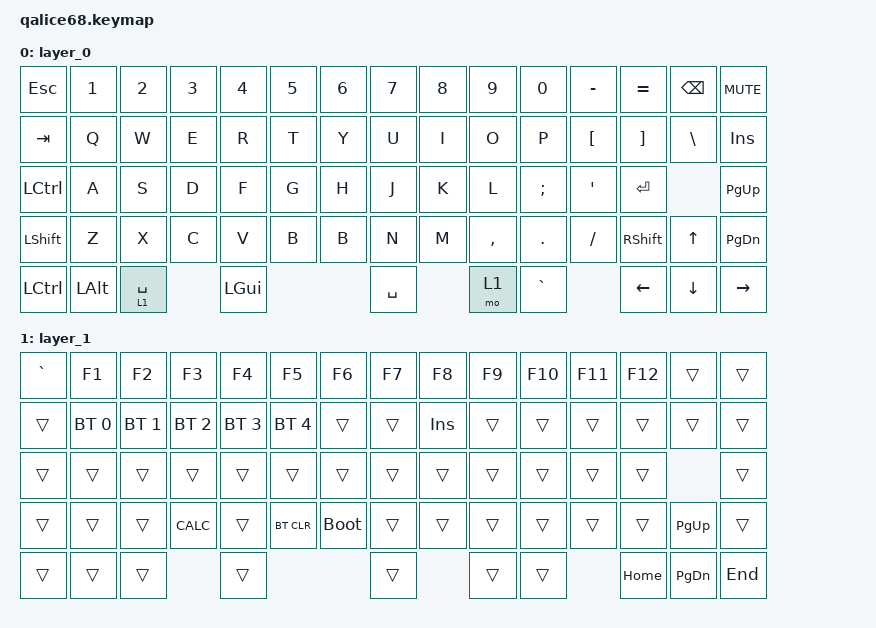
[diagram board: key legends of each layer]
/*
 * Copyright (c) 2020 The ZMK Contributors
 *
 * SPDX-License-Identifier: MIT
 */

#include <behaviors.dtsi>
#include <dt-bindings/zmk/bt.h>
#include <dt-bindings/zmk/keys.h>

/ {
    keymap {
        compatible = "zmk,keymap";

        layer_0 {
            bindings = <
&kp ESC    &kp N1    &kp N2       &kp N3  &kp N4    &kp N5  &kp N6  &kp N7     &kp N8  &kp N9     &kp N0     &kp MINUS  &kp EQUAL       &kp BSPC        &kp C_MUTE
&kp TAB    &kp Q     &kp W        &kp E   &kp R     &kp T   &kp Y   &kp U      &kp I   &kp O      &kp P      &kp LBKT   &kp RBKT        &kp BSLH        &kp INS
&kp LCTRL  &kp A     &kp S        &kp D   &kp F     &kp G   &kp H   &kp J      &kp K   &kp L      &kp SEMI   &kp APOS   &kp ENTER                       &kp PAGE_UP
&kp LSHFT  &kp Z     &kp X        &kp C   &kp V     &kp B   &kp B   &kp N      &kp M   &kp COMMA  &kp DOT    &kp FSLH   &kp RSHFT       &kp UP_ARROW    &kp PAGE_DOWN
&kp LCTRL  &kp LALT  &lt 1 SPACE          &kp LGUI                  &kp SPACE          &mo 1      &kp GRAVE             &kp LEFT_ARROW  &kp DOWN_ARROW  &kp RIGHT_ARROW
            >;
        };

        layer_1 {
            bindings = <
&kp GRAVE  &kp F1        &kp F2        &kp F3        &kp F4        &kp F5        &kp F6       &kp F7  &kp F8   &kp F9  &kp F10  &kp F11  &kp F12   &trans         &trans
&trans     &bt BT_SEL 0  &bt BT_SEL 1  &bt BT_SEL 2  &bt BT_SEL 3  &bt BT_SEL 4  &trans       &trans  &kp INS  &trans  &trans   &trans   &trans    &trans         &trans
&trans     &trans        &trans        &trans        &trans        &trans        &trans       &trans  &trans   &trans  &trans   &trans   &trans                   &trans
&trans     &trans        &trans        &kp K_CALC    &trans        &bt BT_CLR    &bootloader  &trans  &trans   &trans  &trans   &trans   &trans    &kp PAGE_UP    &trans
&trans     &trans        &trans                      &trans                                   &trans           &trans  &trans            &kp HOME  &kp PAGE_DOWN  &kp END
            >;
        };
    };
};
